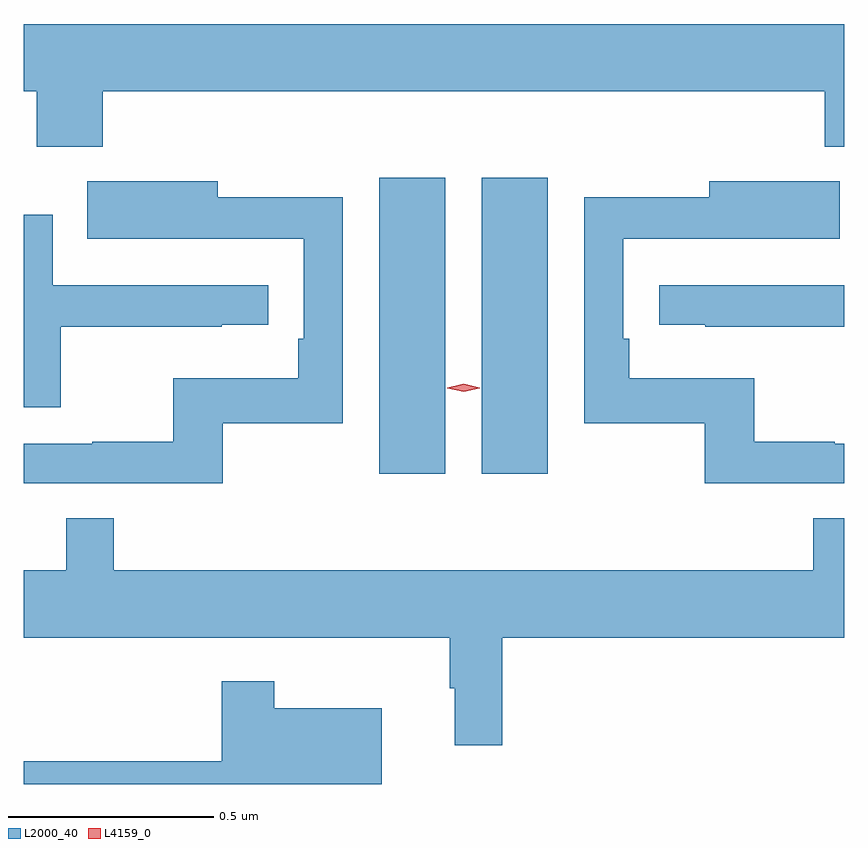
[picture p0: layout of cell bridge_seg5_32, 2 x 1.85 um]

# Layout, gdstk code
import gdstk
lib = gdstk.Library(unit=1e-6, precision=1e-09)
def R(c, l, rs):  # rectangles x0, y0, x1, y1
    for r in rs: c.add(gdstk.rectangle(r[:2], r[2:], *l))
def P(c, l, *ps):  # polygons
    for p in ps: c.add(gdstk.Polygon(p, *l))
L2000_40 = (2000, 40)
L4159_0 = (4159, 0)

bridge_seg5_32 = lib.new_cell('bridge_seg5_32')
R(bridge_seg5_32, L2000_40, [(941.219,909.108,941.38,909.829), (941.468,909.108,941.629,909.829)])
P(bridge_seg5_32, L2000_40, [(940.544,910.04),(942.305,910.04),(942.305,909.905),(942.352,909.905),(942.352,910.204),(940.352,910.204),(940.352,910.04),(940.384,910.04),(940.384,909.905),(940.544,909.905)],
  [(940.837,909.231),(941.13,909.231),(941.13,909.782),(940.825,909.782),(940.825,909.82),(940.507,909.82),(940.507,909.68),(940.721,909.68),(940.721,909.681),(941.034,909.681),(941.034,909.436),(941.021,909.436),(941.021,909.34),(940.716,909.34),(940.716,909.185),(940.519,909.185),(940.519,909.18),(940.352,909.18),(940.352,909.084),(940.837,909.084)],
  [(942.352,909.18),(942.329,909.18),(942.329,909.185),(942.133,909.185),(942.133,909.34),(941.828,909.34),(941.828,909.436),(941.814,909.436),(941.814,909.681),(942.127,909.681),(942.127,909.68),(942.341,909.68),(942.341,909.82),(942.023,909.82),(942.023,909.782),(941.718,909.782),(941.718,909.231),(942.012,909.231),(942.012,909.084),(942.352,909.084)],
  [(940.442,909.466),(940.835,909.466),(940.835,909.471),(940.948,909.471),(940.948,909.567),(940.422,909.567),(940.422,909.739),(940.352,909.739),(940.352,909.27),(940.442,909.27)],
  [(942.352,909.567),(941.901,909.567),(941.901,909.471),(942.013,909.471),(942.013,909.466),(942.352,909.466)],
  [(941.519,908.708),(942.352,908.708),(942.352,908.999),(942.277,908.999),(942.277,908.872),(940.571,908.872),(940.571,908.999),(940.455,908.999),(940.455,908.872),(940.352,908.872),(940.352,908.708),(941.391,908.708),(941.391,908.585),(941.402,908.585),(941.402,908.445),(941.519,908.445)],
  [(941.224,908.536),(940.963,908.536),(940.963,908.602),(940.834,908.602),(940.834,908.407),(940.352,908.407),(940.352,908.351),(941.224,908.351)])
P(bridge_seg5_32, L4159_0, [(941.424,909.307),(941.384,909.316),(941.384,909.317),(941.384,909.317),(941.424,909.327),(941.464,909.317),(941.464,909.317),(941.464,909.316)])

lib.write_gds('bridge_seg5_32.gds')
